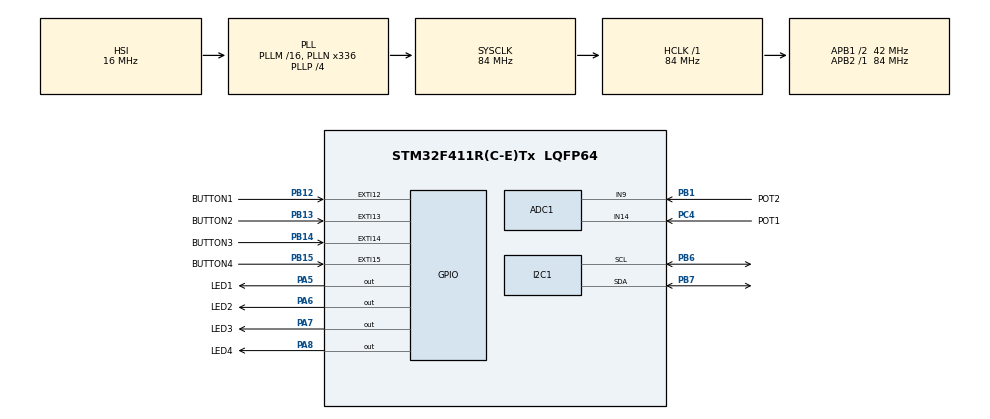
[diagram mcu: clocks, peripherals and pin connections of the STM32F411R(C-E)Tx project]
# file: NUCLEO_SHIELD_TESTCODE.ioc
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ADC1.Channel-0\#ChannelRegularConversion=ADC_CHANNEL_9
ADC1.Channel-1\#ChannelRegularConversion=ADC_CHANNEL_14
ADC1.DiscontinuousConvMode=ENABLE
ADC1.NbrOfConversion=2
ADC1.NbrOfConversionFlag=1
ADC1.Rank-0\#ChannelRegularConversion=1
ADC1.Rank-1\#ChannelRegularConversion=2
ADC1.SamplingTime-0\#ChannelRegularConversion=ADC_SAMPLETIME_480CYCLES
ADC1.SamplingTime-1\#ChannelRegularConversion=ADC_SAMPLETIME_480CYCLES
ADC1.master=1
Mcu.Family=STM32F4
Mcu.Name=STM32F411R(C-E)Tx
Mcu.Package=LQFP64
NVIC.EXTI15_10_IRQn=true\:1\:0\:true\:false\:true\:true\:true\:true
NVIC.PriorityGroup=NVIC_PRIORITYGROUP_4
PA13.GPIO_Label=TMS
PA13.Mode=Serial_Wire
PA13.Signal=SYS_JTMS-SWDIO
PA14.GPIO_Label=TCK
PA14.Mode=Serial_Wire
PA14.Signal=SYS_JTCK-SWCLK
PA2.GPIO_Label=USART_TX
PA2.Signal=USART2_TX
PA3.GPIO_Label=USART_RX
PA3.Signal=USART2_RX
PA5.GPIO_Label=LED1
PA5.Signal=GPIO_Output
PA6.GPIO_Label=LED2
PA6.Signal=GPIO_Output
PA7.GPIO_Label=LED3
PA7.Signal=GPIO_Output
PA8.GPIO_Label=LED4
PA8.Signal=GPIO_Output
PB1.GPIO_Label=POT2
PB1.Signal=ADCx_IN9
PB12.GPIO_Label=BUTTON1
PB12.Signal=GPXTI12
PB13.GPIO_Label=BUTTON2
PB13.Signal=GPXTI13
PB14.GPIO_Label=BUTTON3
PB14.Signal=GPXTI14
PB15.GPIO_Label=BUTTON4
PB15.Signal=GPXTI15
PB3.GPIO_Label=SWO
PB3.Signal=SYS_JTDO-SWO
PB6.GPIO_Pu=GPIO_PULLUP
PB6.Mode=I2C
PB6.Signal=I2C1_SCL
PB7.GPIO_Pu=GPIO_PULLUP
PB7.Mode=I2C
PB7.Signal=I2C1_SDA
PC14-OSC32_IN.Signal=RCC_OSC32_IN
PC15-OSC32_OUT.Signal=RCC_OSC32_OUT
PC4.GPIO_Label=POT1
PC4.Signal=ADCx_IN14
PH0\ -\ OSC_IN.Signal=RCC_OSC_IN
PH1\ -\ OSC_OUT.Signal=RCC_OSC_OUT
ProjectManager.HeapSize=0x200
ProjectManager.StackSize=0x400
ProjectManager.TargetToolchain=STM32CubeIDE
RCC.48MHZClocksFreq_Value=84000000
RCC.AHBFreq_Value=84000000
RCC.APB1CLKDivider=RCC_HCLK_DIV2
RCC.APB1Freq_Value=42000000
RCC.APB1TimFreq_Value=84000000
RCC.APB2Freq_Value=84000000
RCC.APB2TimFreq_Value=84000000
RCC.CortexFreq_Value=84000000
RCC.FLatency-AdvancedSettings=FLASH_LATENCY_2
RCC.HCLKFreq_Value=84000000
RCC.HSE_VALUE=8000000
RCC.HSI_VALUE=16000000
RCC.LSE_VALUE=32768
RCC.PLLN=336
RCC.PLLP=RCC_PLLP_DIV4
RCC.SYSCLKFreq_VALUE=84000000
RCC.SYSCLKSource=RCC_SYSCLKSOURCE_PLLCLK
RCC.VCOOutputFreq_Value=336000000
SH.ADCx_IN14.0=ADC1_IN14,IN14
SH.ADCx_IN9.0=ADC1_IN9,IN9
TIM1.Period=10500 - 1
TIM1.Prescaler=8400 - 1
VP_TIM1_VS_ClockSourceINT.Mode=Internal
board=NUCLEO-F411RE

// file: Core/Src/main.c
/* USER CODE BEGIN Header */
/**
  ******************************************************************************
  * @file           : main.c
  * @brief          : Main program body
  ******************************************************************************
  * @attention
  *
  * Copyright (c) 2025 STMicroelectronics.
  * All rights reserved.
  *
  * This software is licensed under terms that can be found in the LICENSE file
  * in the root directory of this software component.
  * If no LICENSE file comes with this software, it is provided AS-IS.
  *
  ******************************************************************************
  */
/* USER CODE END Header */
#include "main.h"

/* USER CODE BEGIN Includes */
#include "mpu6050.h"
#include <stdio.h>
#include"at24c128c.h"
#include <string.h>
#include <math.h>
/* USER CODE END Includes */

ADC_HandleTypeDef hadc1;

I2C_HandleTypeDef hi2c1;

TIM_HandleTypeDef htim1;

void SystemClock_Config(void);
static void MX_GPIO_Init(void);
static void MX_ADC1_Init(void);
static void MX_I2C1_Init(void);
static void MX_TIM1_Init(void);

/* USER CODE BEGIN 0 */

/*TASKS TIME DEFINES Y BANDERAS*/
#define CIEN_MS 1000
#define QUINIENTOS_MS 5000
#define UN_SEGUNDO 10000
uint16_t CIEN_MS_FLAG = 0;
uint16_t QUINIENTOS_MS_FLAG = 0;
uint16_t UN_SEGUNDO_FLAG = 0;

/*Bandera para control de tiempo de tareas*/
uint16_t time = 0;

/********************/

// Variable global para guardar el último tiempo válido de pulsación
uint32_t lastButtonPressTick = 0;

// Bandera para leer datos de la EEPROM, activada con button 1
uint8_t Leer_datos = 0;

/*VARIABLES ADC*/
#define NUM_OF_ADC_CHANNELS 2
uint16_t CH9;
uint16_t CH14;

uint16_t *ADC_CHANNELS[NUM_OF_ADC_CHANNELS] = {&CH9,&CH14};
/**************/

/* Private defines -----------------------------------------------------------*/
#define EEPROM_HEADER_ADDR   0x0000  // Dirección del encabezado de muestras
#define EEPROM_DATA_START    0x0002  // Dirección de inicio de datos
#define EEPROM_MAX_SAMPLES   1024    // Límite de muestras válidas (4 KB máx)

/* Global variables ----------------------------------------------------------*/
// Manejador de la interfaz I2C1, utilizado para comunicar tanto con el MPU6050 como con la EEPROM AT24C128C
I2C_HandleTypeDef hi2c1;

// Estructura que contiene los datos del sensor MPU6050 (ángulos, aceleración, giroscopio, etc.)
MPU6050_t mpu;

// Dirección actual de escritura en la EEPROM. Se inicializa desde el header al arrancar el sistema.
uint16_t eepromAddr = 0;

// Último valor leído del ángulo Y (Roll), usado para detectar transiciones (por ejemplo, paso del umbral)
float lastAngleY = 0.0f;

// Bandera (flag) que indica si ya se detectó una transición de evento para evitar guardar duplicados
uint8_t triggered = 0;

// Arreglo de 4 bytes utilizado para almacenar temporalmente una muestra (float) antes de escribir o después de leer de EEPROM
uint8_t data[4];

// Variable para almacenar el valor flotante recuperado desde EEPROM
float readValue;

/*FUNCIONES*/
void Read_ADC_Channels(void);
void Init_MPU6050(void);
void Load_EEPROM_Header(void);
void Read_EEPROM(void);
void Print_Stored_Events(uint16_t numSamples);
void Store_Event_Samples(void);

/* USER CODE END 0 */

int main(void)
{

  /* MCU Configuration--------------------------------------------------------*/

  /* Reset of all peripherals, Initializes the Flash interface and the Systick. */
  HAL_Init();

  /* Configure the system clock */
  SystemClock_Config();

  /* Initialize all configured peripherals */
  MX_GPIO_Init();
  MX_ADC1_Init();
  MX_I2C1_Init();
  MX_TIM1_Init();
  /* USER CODE BEGIN 2 */

  /*Inicio de conteo del TIMER 2, este timer controla la periodicidad de las tareas*/
  HAL_TIM_Base_Start(&htim1);

  Init_MPU6050();
  Load_EEPROM_Header();

  /* USER CODE END 2 */

  /* Infinite loop */
  /* USER CODE BEGIN WHILE */
  while (1)
  {
	  /*Actualización de la variable de tiempo*/
	  time = __HAL_TIM_GET_COUNTER(&htim1);

	  /* 100 ms TASK */
	  if(time - CIEN_MS_FLAG == CIEN_MS)
	  {
		  if(Leer_datos == 1)
		  {
			  Read_EEPROM();
		  }

		  CIEN_MS_FLAG += 1000;//Actualizamos bandera para cumplir con el tiempo
	  }

	  /* 500 ms TASK */
	  if(time - QUINIENTOS_MS_FLAG == QUINIENTOS_MS)
	  {
		  Read_ADC_Channels();

		  // Leer todos los datos del MPU6050 (acelerómetro y giroscopio)
		  if (MPU6050_ReadAll(&hi2c1, &mpu) == HAL_OK)
		  {
		      // Extraer el ángulo Y (inclinación lateral o "Roll")
		      float angle = mpu.angleY;

		      // Imprimir los ángulos actuales
		      printf("Pitch: %.2f | Roll: %.2f\r\n", mpu.angleX, angle);

		      // Detectar transición: cuando el ángulo pasa de ≤20 a >20
		      if (!triggered && lastAngleY <= 20.0f && angle > 20.0f)
		      {
		          // Llamar función para guardar las muestras del evento en EEPROM
		          Store_Event_Samples();

		          // Marcar que ya se registró el evento, evitar duplicados
		          triggered = 1;
		      }
		      // Detectar que el ángulo volvió a un valor bajo (≤20)
		      else if (triggered && angle <= 20.0f)
		      {
		          // Permitir registrar un nuevo evento la próxima vez que suba
		          triggered = 0;
		      }

		      // Guardar el valor actual como referencia para la próxima iteración
		      lastAngleY = angle;
		  }

		  QUINIENTOS_MS_FLAG += 5000;//Actualizamos bandera para cumplir con el tiempo
	  }

	  /* 1 sec TASK */
	  if(time - UN_SEGUNDO_FLAG == UN_SEGUNDO)
	  {

		  //streaming de canal 9
		  printf("VALOR ADC CANAL 9: %d \r\n", CH9);
		  //streaming de canal 14
		  printf("VALOR ADC CANAL 14: %d \r\n", CH14);
		  printf("-----------------------------------\r\n");

		  __HAL_TIM_SET_COUNTER(&htim1,0); //Reseteamos contador
		  //Reseteamos banderas de control de tiempo
		  CIEN_MS_FLAG = 0;
		  QUINIENTOS_MS_FLAG = 0;
	  }

    /* USER CODE END WHILE */

  }
}

void SystemClock_Config(void)
{
  RCC_OscInitTypeDef RCC_OscInitStruct = {0};
  RCC_ClkInitTypeDef RCC_ClkInitStruct = {0};

  /** Configure the main internal regulator output voltage
  */
  __HAL_RCC_PWR_CLK_ENABLE();
  __HAL_PWR_VOLTAGESCALING_CONFIG(PWR_REGULATOR_VOLTAGE_SCALE1);

  /** Initializes the RCC Oscillators according to the specified parameters
  * in the RCC_OscInitTypeDef structure.
  */
  RCC_OscInitStruct.OscillatorType = RCC_OSCILLATORTYPE_HSI;
  RCC_OscInitStruct.HSIState = RCC_HSI_ON;
  RCC_OscInitStruct.HSICalibrationValue = RCC_HSICALIBRATION_DEFAULT;
  RCC_OscInitStruct.PLL.PLLState = RCC_PLL_ON;
  RCC_OscInitStruct.PLL.PLLSource = RCC_PLLSOURCE_HSI;
  RCC_OscInitStruct.PLL.PLLM = 16;
  RCC_OscInitStruct.PLL.PLLN = 336;
  RCC_OscInitStruct.PLL.PLLP = RCC_PLLP_DIV4;
  RCC_OscInitStruct.PLL.PLLQ = 4;
  if (HAL_RCC_OscConfig(&RCC_OscInitStruct) != HAL_OK)
  {
    Error_Handler();
  }

  /** Initializes the CPU, AHB and APB buses clocks
  */
  RCC_ClkInitStruct.ClockType = RCC_CLOCKTYPE_HCLK|RCC_CLOCKTYPE_SYSCLK
                              |RCC_CLOCKTYPE_PCLK1|RCC_CLOCKTYPE_PCLK2;
  RCC_ClkInitStruct.SYSCLKSource = RCC_SYSCLKSOURCE_PLLCLK;
  RCC_ClkInitStruct.AHBCLKDivider = RCC_SYSCLK_DIV1;
  RCC_ClkInitStruct.APB1CLKDivider = RCC_HCLK_DIV2;
  RCC_ClkInitStruct.APB2CLKDivider = RCC_HCLK_DIV1;

  if (HAL_RCC_ClockConfig(&RCC_ClkInitStruct, FLASH_LATENCY_2) != HAL_OK)
  {
    Error_Handler();
  }
}

static void MX_ADC1_Init(void)
{

  ADC_ChannelConfTypeDef sConfig = {0};

  /** Configure the global features of the ADC (Clock, Resolution, Data Alignment and number of conversion)
  */
  hadc1.Instance = ADC1;
  hadc1.Init.ClockPrescaler = ADC_CLOCK_SYNC_PCLK_DIV4;
  hadc1.Init.Resolution = ADC_RESOLUTION_12B;
  hadc1.Init.ScanConvMode = ENABLE;
  hadc1.Init.ContinuousConvMode = DISABLE;
  hadc1.Init.DiscontinuousConvMode = ENABLE;
  hadc1.Init.NbrOfDiscConversion = 1;
  hadc1.Init.ExternalTrigConvEdge = ADC_EXTERNALTRIGCONVEDGE_NONE;
  hadc1.Init.ExternalTrigConv = ADC_SOFTWARE_START;
  hadc1.Init.DataAlign = ADC_DATAALIGN_RIGHT;
  hadc1.Init.NbrOfConversion = 2;
  hadc1.Init.DMAContinuousRequests = DISABLE;
  hadc1.Init.EOCSelection = ADC_EOC_SINGLE_CONV;
  if (HAL_ADC_Init(&hadc1) != HAL_OK)
  {
    Error_Handler();
  }

  /** Configure for the selected ADC regular channel its corresponding rank in the sequencer and its sample time.
  */
  sConfig.Channel = ADC_CHANNEL_9;
  sConfig.Rank = 1;
  sConfig.SamplingTime = ADC_SAMPLETIME_480CYCLES;
  if (HAL_ADC_ConfigChannel(&hadc1, &sConfig) != HAL_OK)
  {
    Error_Handler();
  }

  /** Configure for the selected ADC regular channel its corresponding rank in the sequencer and its sample time.
  */
  sConfig.Channel = ADC_CHANNEL_14;
  sConfig.Rank = 2;
  if (HAL_ADC_ConfigChannel(&hadc1, &sConfig) != HAL_OK)
  {
    Error_Handler();
  }

}

static void MX_I2C1_Init(void)
{

  hi2c1.Instance = I2C1;
  hi2c1.Init.ClockSpeed = 100000;
  hi2c1.Init.DutyCycle = I2C_DUTYCYCLE_2;
  hi2c1.Init.OwnAddress1 = 0;
  hi2c1.Init.AddressingMode = I2C_ADDRESSINGMODE_7BIT;
  hi2c1.Init.DualAddressMode = I2C_DUALADDRESS_DISABLE;
  hi2c1.Init.OwnAddress2 = 0;
  hi2c1.Init.GeneralCallMode = I2C_GENERALCALL_DISABLE;
  hi2c1.Init.NoStretchMode = I2C_NOSTRETCH_DISABLE;
  if (HAL_I2C_Init(&hi2c1) != HAL_OK)
  {
    Error_Handler();
  }

}

static void MX_TIM1_Init(void)
{

  TIM_ClockConfigTypeDef sClockSourceConfig = {0};
  TIM_MasterConfigTypeDef sMasterConfig = {0};

  htim1.Instance = TIM1;
  htim1.Init.Prescaler = 8400 - 1;
  htim1.Init.CounterMode = TIM_COUNTERMODE_UP;
  htim1.Init.Period = 10500 - 1;
  htim1.Init.ClockDivision = TIM_CLOCKDIVISION_DIV1;
  htim1.Init.RepetitionCounter = 0;
  htim1.Init.AutoReloadPreload = TIM_AUTORELOAD_PRELOAD_DISABLE;
  if (HAL_TIM_Base_Init(&htim1) != HAL_OK)
  {
    Error_Handler();
  }
  sClockSourceConfig.ClockSource = TIM_CLOCKSOURCE_INTERNAL;
  if (HAL_TIM_ConfigClockSource(&htim1, &sClockSourceConfig) != HAL_OK)
  {
    Error_Handler();
  }
  sMasterConfig.MasterOutputTrigger = TIM_TRGO_RESET;
  sMasterConfig.MasterSlaveMode = TIM_MASTERSLAVEMODE_DISABLE;
  if (HAL_TIMEx_MasterConfigSynchronization(&htim1, &sMasterConfig) != HAL_OK)
  {
    Error_Handler();
  }

}

static void MX_GPIO_Init(void)
{
  GPIO_InitTypeDef GPIO_InitStruct = {0};

  /* GPIO Ports Clock Enable */
  __HAL_RCC_GPIOC_CLK_ENABLE();
  __HAL_RCC_GPIOH_CLK_ENABLE();
  __HAL_RCC_GPIOA_CLK_ENABLE();
  __HAL_RCC_GPIOB_CLK_ENABLE();

  /*Configure GPIO pin Output Level */
  HAL_GPIO_WritePin(GPIOA, LED1_Pin|LED2_Pin|LED3_Pin|LED4_Pin, GPIO_PIN_RESET);

  /*Configure GPIO pins : USART_TX_Pin USART_RX_Pin */
  GPIO_InitStruct.Pin = USART_TX_Pin|USART_RX_Pin;
  GPIO_InitStruct.Mode = GPIO_MODE_AF_PP;
  GPIO_InitStruct.Pull = GPIO_NOPULL;
  GPIO_InitStruct.Speed = GPIO_SPEED_FREQ_VERY_HIGH;
  GPIO_InitStruct.Alternate = GPIO_AF7_USART2;
  HAL_GPIO_Init(GPIOA, &GPIO_InitStruct);

  /*Configure GPIO pins : LED1_Pin LED2_Pin LED3_Pin LED4_Pin */
  GPIO_InitStruct.Pin = LED1_Pin|LED2_Pin|LED3_Pin|LED4_Pin;
  GPIO_InitStruct.Mode = GPIO_MODE_OUTPUT_PP;
  GPIO_InitStruct.Pull = GPIO_NOPULL;
  GPIO_InitStruct.Speed = GPIO_SPEED_FREQ_LOW;
  HAL_GPIO_Init(GPIOA, &GPIO_InitStruct);

  /*Configure GPIO pins : BUTTON1_Pin BUTTON2_Pin BUTTON3_Pin BUTTON4_Pin */
  GPIO_InitStruct.Pin = BUTTON1_Pin|BUTTON2_Pin|BUTTON3_Pin|BUTTON4_Pin;
  GPIO_InitStruct.Mode = GPIO_MODE_IT_RISING;
  GPIO_InitStruct.Pull = GPIO_NOPULL;
  HAL_GPIO_Init(GPIOB, &GPIO_InitStruct);

  /* EXTI interrupt init*/
  HAL_NVIC_SetPriority(EXTI15_10_IRQn, 1, 0);
  HAL_NVIC_EnableIRQ(EXTI15_10_IRQn);

}

/* USER CODE BEGIN 4 */
/*Read_ADC_Channels lee los canales de ADC uno por uno*/
void Read_ADC_Channels(void)
{
	for(int i = 0 ; i < NUM_OF_ADC_CHANNELS ; i++)
	{
		HAL_ADC_Start(&hadc1);
		HAL_ADC_PollForConversion(&hadc1, HAL_MAX_DELAY);
		*ADC_CHANNELS[i] = HAL_ADC_GetValue(&hadc1);
	}
}

/**
 * @brief Inicializa el sensor MPU6050 y detiene el programa si falla.
 */
void Init_MPU6050(void)
{
    if (MPU6050_Init(&hi2c1) != HAL_OK)
    {
        printf("Error initializing MPU6050\r\n");
        while (1);
    }
    printf("MPU6050 initialized!\r\n");
}

/**
 * @brief  Carga el encabezado de la EEPROM y actualiza la dirección actual de escritura.
 *         También imprime los eventos almacenados si el encabezado es válido.
 *
 * Esta función lee los primeros 2 bytes de la EEPROM, que contienen el número total de muestras guardadas.
 * Si el valor leído está corrupto (por ejemplo, 0xFFFF o fuera de rango), se reinicia la dirección de escritura y se limpia el encabezado.
 * Si es válido, se calcula la dirección de escritura y se llama a `Print_Stored_Events()` para mostrar los datos guardados.
 *
 * @param  Ninguno
 * @retval Ninguno
 */
void Load_EEPROM_Header(void)
{
    uint8_t header[2]; // Arreglo para almacenar los 2 bytes del encabezado

    // Leer los 2 bytes iniciales que representan el número total de muestras guardadas
    if (AT24C128C_ReadBuffer(&hi2c1, EEPROM_HEADER_ADDR, header, 2) == HAL_OK)
    {
        // Reconstruir el número de muestras a partir de los dos bytes
        uint16_t numSamples = (header[0] << 8) | header[1];

        // Validar si el valor leído es inválido o está fuera del rango esperado
        if (numSamples == 0xFFFF || numSamples > EEPROM_MAX_SAMPLES)
        {
            printf("⚠️ Header inválido o EEPROM corrupta: numSamples = %u. Reiniciando...\r\n", numSamples);

            numSamples = 0; // Reiniciar el contador de muestras
            eepromAddr = EEPROM_DATA_START; // Volver al inicio de la sección de datos

            // Limpiar el encabezado escribiendo ceros
            uint8_t clean[2] = {0x00, 0x00};
            AT24C128C_WriteBuffer(&hi2c1, EEPROM_HEADER_ADDR, clean, 2);
        }
        else
        {
            // Si el número de muestras es válido, calcular la próxima dirección de escritura
            eepromAddr = EEPROM_DATA_START + numSamples * 4;
        }

        // Mostrar por consola cuántas muestras hay almacenadas y hasta qué dirección
        printf("EEPROM contiene %u muestras hasta addr: 0x%04X\r\n", numSamples, eepromAddr);

        // Imprimir los eventos guardados en grupos de 3 muestras
        Print_Stored_Events(numSamples);
    }
    else
    {
        // Si falló la lectura del encabezado, iniciar desde cero
        eepromAddr = EEPROM_DATA_START;
    }
}

/**
 * @brief  Imprime por consola los eventos almacenados en la EEPROM.
 *
 * Cada evento consta de 3 muestras (floats), las cuales se leen desde EEPROM
 * y se imprimen en formato hexadecimal de dirección y valor decimal.
 * La función se asegura de no leer fuera del límite de la memoria EEPROM.
 *
 * @param  numSamples  Número total de muestras almacenadas (debe ser múltiplo de 3 para eventos completos).
 * @retval Ninguno
 */
void Print_Stored_Events(uint16_t numSamples)
{
    // Recorrer las muestras de 3 en 3 (cada grupo representa un evento)
    for (uint16_t i = 0; i < numSamples; i += 3)
    {
        // Imprimir encabezado del evento
        printf("Evento %u:\r\n", (i / 3) + 1);

        // Leer hasta 3 muestras por evento, asegurándose de no pasar el total
        for (uint8_t j = 0; j < 3 && (i + j) < numSamples; j++)
        {
            // Calcular la dirección de la EEPROM para esta muestra
            uint16_t addr = EEPROM_DATA_START + (i + j) * 4;

            // Verificar que la dirección no exceda el tamaño máximo de la EEPROM (128Kbits = 16 KB)
            if (addr + 4 > (128 * 1024 / 8)) break;

            // Leer 4 bytes (un float) desde la EEPROM
            if (AT24C128C_ReadBuffer(&hi2c1, addr, data, 4) == HAL_OK)
            {
                // Copiar los bytes leídos en la variable tipo float
                memcpy(&readValue, data, sizeof(float));

                // Imprimir solo si el valor no es NaN (por seguridad)
                if (!isnan(readValue))
                {
                    printf("  [0x%04X] = %.2f\r\n", addr, readValue);
                }
            }
        }
    }

    // Breve retraso al final para dar tiempo a leer los datos en consola
    HAL_Delay(3500);
}

/**
 * @brief  Guarda tres muestras consecutivas del ángulo Y en la EEPROM como un evento.
 *
 * Esta función se llama cuando se detecta una inclinación que supera el umbral (>20°).
 * Captura tres muestras del ángulo `mpu.angleY`, las almacena en EEPROM y actualiza el encabezado
 * con el número total de muestras registradas.
 *
 * @param  Ninguno (usa variables globales `mpu`, `eepromAddr`, `hi2c1`, `data`)
 * @retval Ninguno
 */
void Store_Event_Samples(void)
{
    // Mensaje indicativo en consola
    printf("\u26a1 Umbral superado! Registrando evento en EEPROM...\r\n");

    // Repetir 3 veces para almacenar 3 muestras del evento
    for (int i = 0; i < 3; i++)
    {
        float sample = mpu.angleY; // Tomar valor actual de inclinación (ángulo Y)

        // Copiar el valor float en un arreglo de 4 bytes para escribirlo
        memcpy(data, &sample, sizeof(float));

        // Escribir los 4 bytes del float en la dirección actual de EEPROM
        if (AT24C128C_WriteBuffer(&hi2c1, eepromAddr, data, 4) == HAL_OK)
        {
            // Confirmar en consola
            printf("  Guardado #%d: %.2f en addr 0x%04X\r\n", i + 1, sample, eepromAddr);

            // Avanzar dirección de escritura
            eepromAddr += 4;

            // Calcular el nuevo número total de muestras almacenadas
            uint16_t numSamples = (eepromAddr - EEPROM_DATA_START) / 4;

            // Crear nuevo encabezado con el contador actualizado
            uint8_t newHeader[2] = {
                (uint8_t)(numSamples >> 8),     // MSB
                (uint8_t)(numSamples & 0xFF)    // LSB
            };

            // Escribir el nuevo encabezado en la EEPROM
            AT24C128C_WriteBuffer(&hi2c1, EEPROM_HEADER_ADDR, newHeader, 2);
        }
        else
        {
            // Si falla la escritura, reportar el error y salir del ciclo
            printf("  Error escribiendo muestra #%d\r\n", i + 1);
            break;
        }

        // Pequeño retardo para permitir variación entre muestras
        HAL_Delay(100);

        // Leer nuevamente el sensor para obtener un nuevo valor de muestra
        MPU6050_ReadAll(&hi2c1, &mpu);
    }
}

void Read_EEPROM(void)
{
	printf("Botón presionado: leyendo eventos desde EEPROM...\r\n");

	uint8_t header[2];

	// Leer los primeros 2 bytes de la EEPROM donde se almacena el número total de muestras
	if (AT24C128C_ReadBuffer(&hi2c1, EEPROM_HEADER_ADDR, header, 2) == HAL_OK)
	{
		// Combinar los dos bytes en un entero de 16 bits
		uint16_t numSamples = (header[0] << 8) | header[1];

		// Verificar que el número de muestras no exceda el límite permitido
		if (numSamples <= EEPROM_MAX_SAMPLES)
		{
			// Imprimir todos los eventos almacenados en EEPROM
			Print_Stored_Events(numSamples);
		}
	}

	Leer_datos = 0;

}

void HAL_GPIO_EXTI_Callback(uint16_t GPIO_Pin)
{
    uint32_t currentTick = HAL_GetTick(); // Tiempo actual en ms

    // Si han pasado al menos 150 ms desde la última pulsación
    if ((currentTick - lastButtonPressTick) < 150)
        return; // Rechazar evento por rebote (debounce)

    lastButtonPressTick = currentTick;

    if(GPIO_Pin == BUTTON1_Pin)
    {
    	HAL_GPIO_TogglePin(GPIOA, LED1_Pin);

    	Leer_datos = 1;

    }
    else if(GPIO_Pin == BUTTON2_Pin)
    {
    	HAL_GPIO_TogglePin(GPIOA, LED2_Pin);
    }
    else if(GPIO_Pin == BUTTON3_Pin)
    {
    	HAL_GPIO_TogglePin(GPIOA, LED3_Pin);
    }
    else if(GPIO_Pin == BUTTON4_Pin)
    {
    	HAL_GPIO_TogglePin(GPIOA, LED4_Pin);
    }

}
/* USER CODE END 4 */

void Error_Handler(void)
{
  __disable_irq();
  while (1)
  {
  }
}
